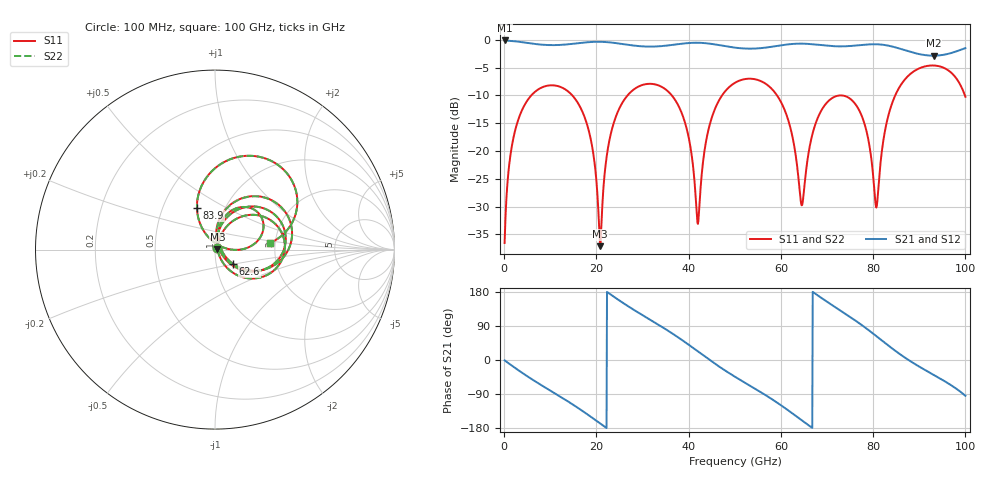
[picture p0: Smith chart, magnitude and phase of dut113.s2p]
! Touchstone file exported from HFSS 2026.1.0
!  File:  C:/ffzhzh/LocalFiles/Ansys_Project_Files/temp_train_TSV_RDL_113_1783457708_34316.aedt
!  Generated:  05:03:44 AM Jul  8, 2026
!  Design:  TSV_RDL
!  Project:  temp_train_TSV_RDL_113_1783457708_34316
! Variables:
!  h_bsmrdl = 3.22um
!  h_ox = 20um
!  h_rdl = 5um
!  h_sub = 55.47um
!  h_tmrdl = 3.7um
!  h_tsv = 55.47um
!  h_via = 3um
!  l_bsmrdl = 550.59um
!  l_sub = 2706.5um
!  l_tmrdl = 135.16um
!  m_sub = 200um
!  pitch = 45.51um
!  r_tsv = 14.04um
!  s_tmrdl = 10um
!  w_bsmrdl = 27.68um
!  w_sub = 500um
!  w_tmrdl = 10.35um
!  x_tsv_center1 = 140.335um
!  x_tsv_center2 = 718.605um
!  x_tsv_center3 = 864.115um
!  x_tsv_center4 = 1442.385um
!  x_tsv_center5 = 1587.895um
!  x_tsv_center6 = 2166.165um
# GHz S MA R 50.000000
! Terminal data exported
! Port[1] = TM_RDL1_1_T1
! Port[2] = TM_RDL5_1_T1
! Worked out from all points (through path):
!   1000 points, 100 MHz to 100 GHz, reference 50 ohm
!   highest |S21| = -0.11 dB at 100 MHz (marker M1); lowest = -2.8 dB at 93.1 GHz (marker M2)
!   group delay of S21, straight-line fit = 22.7 ps
!   lowest |S11| = -37.1 dB at 20.8 GHz (marker M3), VSWR 1.03, Z = 51.4 + j0.0987 ohm
!   |S11| at or under -10 dB: 14.78 GHz to 26.75 GHz (11.98 GHz wide, 57.7 % of centre); 59.16 GHz to 72.77 GHz (13.61 GHz wide, 20.6 % of centre); 73.2 GHz to 84.79 GHz (11.58 GHz wide, 14.7 % of centre) (the widest 3 of 6)
!   |S22| runs from -37.1 to -4.6 dB; largest |S21 - S12| = 8.4e-14
!   S11 on the Smith chart (normalised r, x): 100 MHz: 1.03, +0.02; 62.6 GHz: 1.21, -0.20; 83.9 GHz: 0.74, +0.37; 100 GHz: 1.87, +0.15
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0.1  0.01488 29.9  0.9872 -0.9  0.9872 -0.9  0.01488 29.9
! Gamma 0 0 0 0
! Port Impedance 50 0 50 0
1.8  0.1185 65.6  0.9756 -16.0  0.9756 -16.0  0.1185 65.6
5  0.2835 43.2  0.9381 -42.8  0.9381 -42.8  0.2835 43.2
16.8  0.2338 -42.5  0.9404 -132.9  0.9404 -132.9  0.2337 -42.5
19.2  0.1025 -58.1  0.9582 -153.3  0.9582 -153.3  0.1025 -58.0
20.8  0.01393 4.0  0.9603 -167.3  0.9603 -167.3  0.01397 4.1
24.6  0.2232 65.3  0.9302 160.1  0.9302 160.1  0.2232 65.3
33.4  0.39 2.8  0.8738 93.4  0.8738 93.4  0.3901 2.9
39  0.192 -36.7  0.9276 49.0  0.9276 49.0  0.1922 -36.2
42  0.02208 23.1  0.9413 22.6  0.9413 22.6  0.02407 22.9
44.8  0.1867 80.4  0.9213 -2.1  0.9213 -2.1  0.1868 79.8
50.1  0.4122 43.2  0.8499 -44.6  0.8499 -44.6  0.4121 43.0
57.2  0.3888 -5.2  0.8568 -96.7  0.8568 -96.7  0.3886 -5.3
62.6  0.1288 -38.3  0.9188 -141.8  0.9188 -141.8  0.1284 -38.5
64.5  0.03245 17.0  0.9241 -158.9  0.9241 -158.9  0.032 17.3
66.7  0.1345 78.6  0.9138 -178.4  0.9138 -178.4  0.1346 78.7
75.4  0.2862 21.1  0.8822 110.4  0.8822 110.4  0.2862 21.1
80.7  0.03101 61.5  0.9122 63.0  0.9122 63.0  0.03115 61.5
83.4  0.2161 116.6  0.8848 37.2  0.8848 37.2  0.2162 116.6
83.9  0.2535 113.4  0.8754 32.5  0.8754 32.5  0.2536 113.4
93.1  0.5878 51.0  0.7206 -39.1  0.7206 -39.1  0.5878 51.0
100  0.3074 6.8  0.8421 -94.4  0.8421 -94.4  0.3072 6.8
